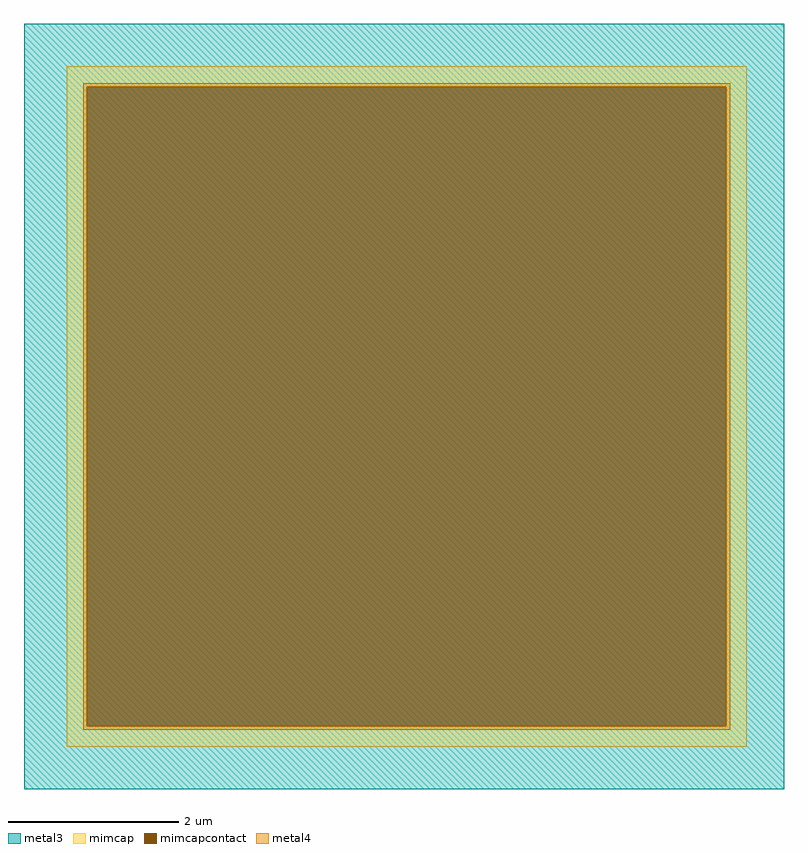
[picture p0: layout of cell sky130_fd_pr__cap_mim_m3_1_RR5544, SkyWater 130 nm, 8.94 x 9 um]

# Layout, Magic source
magic
tech sky130A
magscale 1 2
<< metal3 >>
rect -950 -900 838 900
<< mimcap >>
rect -850 752 750 800
rect -850 -752 -802 752
rect 702 -752 750 752
rect -850 -800 750 -752
<< mimcapcontact >>
rect -802 -752 702 752
<< metal4 >>
rect -811 752 711 761
rect -811 -752 -802 752
rect 702 -752 711 752
rect -811 -761 711 -752
<< properties >>
string FIXED_BBOX -950 -900 850 900
<< end >>
